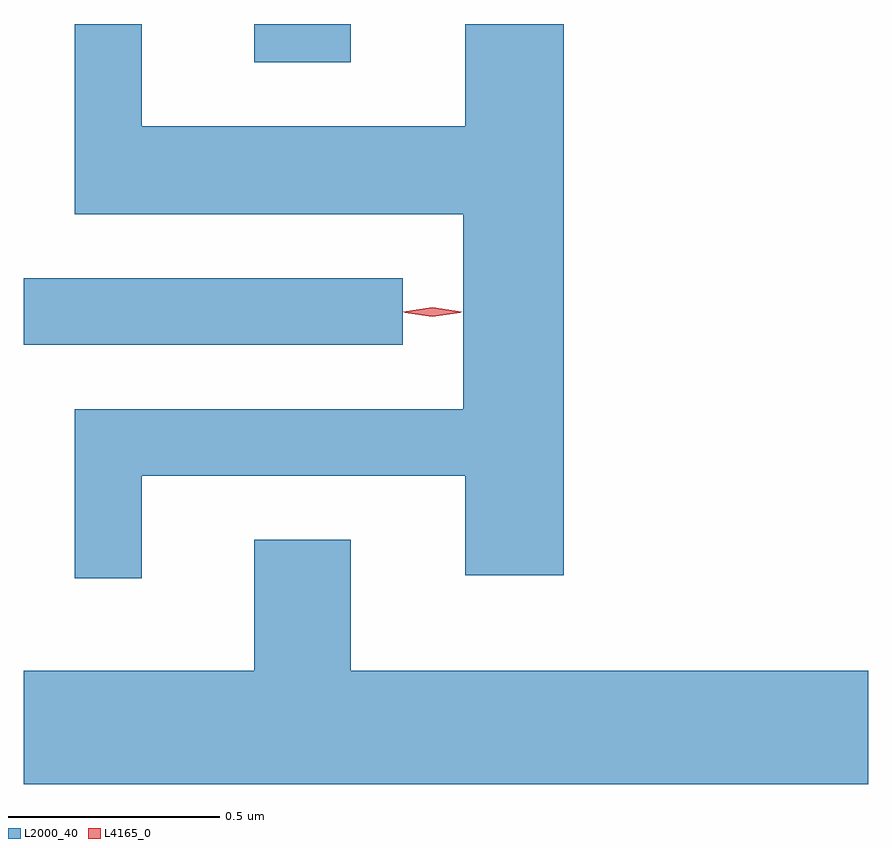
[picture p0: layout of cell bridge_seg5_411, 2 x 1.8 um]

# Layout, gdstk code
import gdstk
lib = gdstk.Library(unit=1e-6, precision=1e-09)
def R(c, l, rs):  # rectangles x0, y0, x1, y1
    for r in rs: c.add(gdstk.rectangle(r[:2], r[2:], *l))
def P(c, l, *ps):  # polygons
    for p in ps: c.add(gdstk.Polygon(p, *l))
L2000_40 = (2000, 40)
L4165_0 = (4165, 0)

bridge_seg5_411 = lib.new_cell('bridge_seg5_411')
R(bridge_seg5_411, L2000_40, [(578.665,1491.136,579.563,1491.294), (579.211,1491.806,579.439,1491.896)])
P(bridge_seg5_411, L2000_40, [(578.944,1490.826),(579.711,1490.826),(579.711,1490.591),(579.944,1490.591),(579.944,1491.896),(579.711,1491.896),(579.711,1491.654),(578.944,1491.654),(578.944,1491.896),(578.786,1491.896),(578.786,1491.446),(579.706,1491.446),(579.706,1490.984),(578.786,1490.984),(578.786,1490.583),(578.944,1490.583)],
  [(580.665,1490.364),(579.439,1490.364),(579.439,1490.674),(579.211,1490.674),(579.211,1490.364),(578.665,1490.364),(578.665,1490.096),(580.665,1490.096)])
P(bridge_seg5_411, L4165_0, [(579.633,1491.205),(579.564,1491.214),(579.563,1491.215),(579.564,1491.215),(579.633,1491.225),(579.702,1491.215),(579.702,1491.215),(579.702,1491.214)],
  [(579.633,1491.203),(579.567,1491.212),(579.567,1491.213),(579.567,1491.213),(579.633,1491.223),(579.699,1491.213),(579.7,1491.213),(579.699,1491.212)])

lib.write_gds('bridge_seg5_411.gds')
